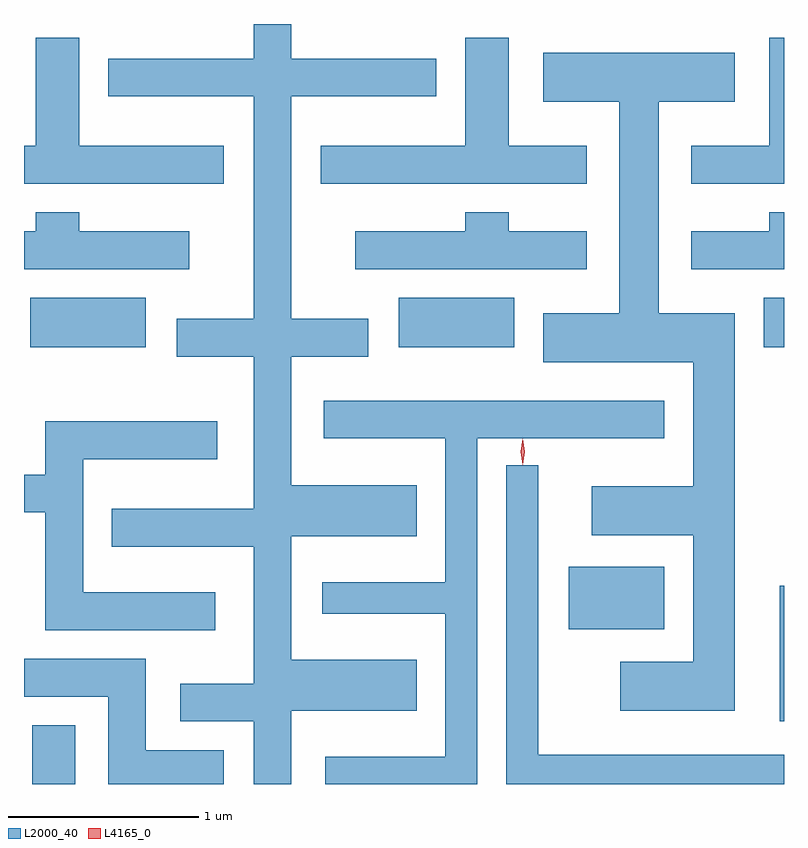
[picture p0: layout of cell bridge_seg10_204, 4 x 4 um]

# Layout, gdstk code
import gdstk
lib = gdstk.Library(unit=1e-6, precision=1e-09)
def R(c, l, rs):  # rectangles x0, y0, x1, y1
    for r in rs: c.add(gdstk.rectangle(r[:2], r[2:], *l))
def P(c, l, *ps):  # polygons
    for p in ps: c.add(gdstk.Polygon(p, *l))
L2000_40 = (2000, 40)
L4165_0 = (4165, 0)

bridge_seg10_204 = lib.new_cell('bridge_seg10_204')
R(bridge_seg10_204, L2000_40, [(1701.746,2140.496,1701.974,2140.804), (1705.681,2140.826,1705.703,2141.539), (1704.571,2141.311,1705.074,2141.639), (1701.736,2142.796,1702.344,2143.054), (1703.676,2142.796,1704.284,2143.054), (1705.596,2142.796,1705.703,2143.054)])
P(bridge_seg10_204, L2000_40, [(1702.166,2141.944),(1702.166,2141.746),(1702.911,2141.746),(1702.911,2141.024),(1702.526,2141.024),(1702.526,2140.826),(1702.911,2140.826),(1702.911,2140.496),(1703.109,2140.496),(1703.109,2140.881),(1703.769,2140.881),(1703.769,2141.149),(1703.109,2141.149),(1703.109,2141.801),(1703.769,2141.801),(1703.769,2142.069),(1703.109,2142.069),(1703.109,2142.746),(1703.514,2142.746),(1703.514,2142.944),(1703.109,2142.944),(1703.109,2144.116),(1703.874,2144.116),(1703.874,2144.314),(1703.109,2144.314),(1703.109,2144.496),(1702.911,2144.496),(1702.911,2144.314),(1702.146,2144.314),(1702.146,2144.116),(1702.911,2144.116),(1702.911,2142.944),(1702.506,2142.944),(1702.506,2142.746),(1702.911,2142.746),(1702.911,2141.944)],
  [(1702.754,2143.854),(1701.994,2143.854),(1701.994,2144.424),(1701.766,2144.424),(1701.766,2143.854),(1701.703,2143.854),(1701.703,2143.656),(1702.754,2143.656)],
  [(1704.664,2143.854),(1704.254,2143.854),(1704.254,2144.424),(1704.026,2144.424),(1704.026,2143.854),(1703.266,2143.854),(1703.266,2143.656),(1704.664,2143.656)],
  [(1705.703,2144.424),(1705.626,2144.424),(1705.626,2143.854),(1705.216,2143.854),(1705.216,2143.656),(1705.703,2143.656)],
  [(1705.444,2142.974),(1705.044,2142.974),(1705.044,2144.086),(1705.444,2144.086),(1705.444,2144.344),(1704.436,2144.344),(1704.436,2144.086),(1704.836,2144.086),(1704.836,2142.974),(1704.436,2142.974),(1704.436,2142.716),(1705.226,2142.716),(1705.226,2142.064),(1704.691,2142.064),(1704.691,2141.806),(1705.226,2141.806),(1705.226,2141.139),(1704.841,2141.139),(1704.841,2140.881),(1705.444,2140.881)],
  [(1704.664,2143.404),(1704.254,2143.404),(1704.254,2143.504),(1704.026,2143.504),(1704.026,2143.404),(1703.446,2143.404),(1703.446,2143.206),(1704.664,2143.206)],
  [(1702.574,2143.404),(1701.994,2143.404),(1701.994,2143.504),(1701.766,2143.504),(1701.766,2143.404),(1701.703,2143.404),(1701.703,2143.206),(1702.574,2143.206)],
  [(1705.703,2143.504),(1705.626,2143.504),(1705.626,2143.404),(1705.216,2143.404),(1705.216,2143.206),(1705.703,2143.206)],
  [(1704.089,2142.316),(1705.074,2142.316),(1705.074,2142.514),(1703.281,2142.514),(1703.281,2142.316),(1703.921,2142.316),(1703.921,2141.559),(1703.273,2141.559),(1703.273,2141.391),(1703.921,2141.391),(1703.921,2140.639),(1703.288,2140.639),(1703.288,2140.496),(1704.089,2140.496)],
  [(1702.709,2141.504),(1702.014,2141.504),(1702.014,2142.206),(1702.719,2142.206),(1702.719,2142.404),(1701.816,2142.404),(1701.816,2142.124),(1701.703,2142.124),(1701.703,2141.926),(1701.816,2141.926),(1701.816,2141.306),(1702.709,2141.306)],
  [(1705.703,2140.649),(1704.409,2140.649),(1704.409,2142.173),(1704.241,2142.173),(1704.241,2140.496),(1705.703,2140.496)],
  [(1702.754,2140.674),(1702.344,2140.674),(1702.344,2141.154),(1701.703,2141.154),(1701.703,2140.956),(1702.146,2140.956),(1702.146,2140.496),(1702.754,2140.496)])
P(bridge_seg10_204, L4165_0, [(1704.328,2142.174),(1704.327,2142.175),(1704.318,2142.244),(1704.327,2142.313),(1704.328,2142.314),(1704.328,2142.313),(1704.338,2142.244),(1704.328,2142.175)],
  [(1704.327,2142.178),(1704.318,2142.244),(1704.327,2142.311),(1704.328,2142.311),(1704.328,2142.311),(1704.338,2142.244),(1704.328,2142.178),(1704.328,2142.178)])

lib.write_gds('bridge_seg10_204.gds')
